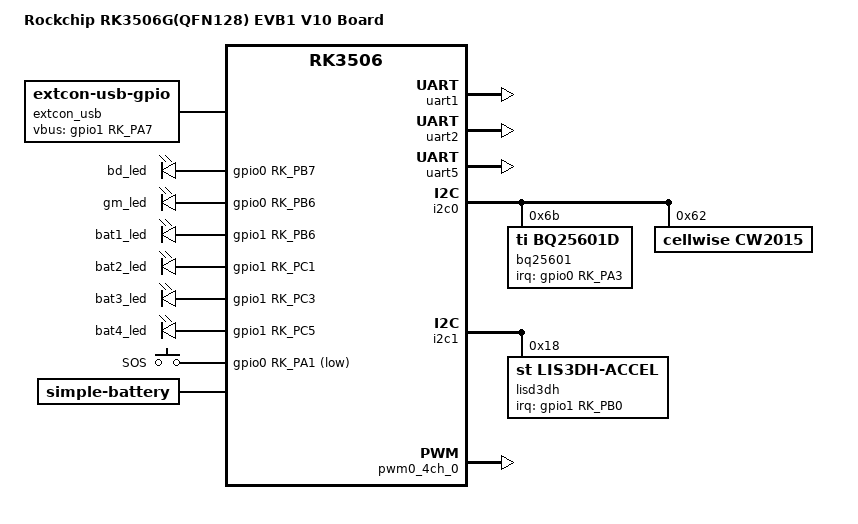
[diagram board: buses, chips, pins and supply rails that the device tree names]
// SPDX-License-Identifier: (GPL-2.0+ OR MIT)
/*
 * Copyright (c) 2024 Rockchip Electronics Co., Ltd.
 */

/dts-v1/;

#include <dt-bindings/sensor-dev.h>

#include "rk3506-my-base-nand.dtsi"

/ {
	model = "Rockchip RK3506G(QFN128) EVB1 V10 Board";
	compatible = "rockchip,rk3506g-evb1-v10", "rockchip,rk3506";

	extcon_usb: extcon-usb {
		compatible = "linux,extcon-usb-gpio";
		vbus-gpio = <&gpio1 RK_PA7 GPIO_ACTIVE_HIGH>;
		pinctrl-names = "default";
		pinctrl-0 = <&usb_extcon_vbus>;
		status = "okay";
	};

	leds: leds {
		compatible = "gpio-leds";
		status = "okay";

		bd_led: bd_led {
			label = "bd_led";
			linux,default-trigger = "none";
			default-state = "off";
			gpios = <&gpio0 RK_PB7 GPIO_ACTIVE_HIGH>;
		};

		gm_led: gm_led {
			label = "gm_led";
			linux,default-trigger = "none";
			default-state = "off";
			gpios = <&gpio0 RK_PB6 GPIO_ACTIVE_HIGH>;
		};

		bat1_led: bat1_led {
			label = "bat1_led";
			linux,default-trigger = "none";
			default-state = "on";
			gpios = <&gpio1 RK_PB6 GPIO_ACTIVE_HIGH>;
		};

		bat2_led: bat2_led {
			label = "bat2_led";
			linux,default-trigger = "none";
			default-state = "off";
			gpios = <&gpio1 RK_PC1 GPIO_ACTIVE_HIGH>;
		};

		bat3_led: bat3_led {
			label = "bat3_led";
			linux,default-trigger = "none";
			default-state = "off";
			gpios = <&gpio1 RK_PC3 GPIO_ACTIVE_HIGH>;
		};

		bat4_led: bat4_led {
			label = "bat4_led";
			linux,default-trigger = "none";
			default-state = "off";
			gpios = <&gpio1 RK_PC5 GPIO_ACTIVE_HIGH>;
		};
	};

	gpio_keys: gpio-keys {
		compatible = "gpio-keys";
		pinctrl-names = "default";
		pinctrl-0 = <&key_sos>;
		status = "okay";

		sos_key: sos-key {
			label = "SOS";
			gpios = <&gpio0 RK_PA1 GPIO_ACTIVE_LOW>;
			linux,code = <KEY_WAKEUP>;
			debounce-interval = <20>;
			wakeup-source;
		};
	};

	bat: battery {
		compatible = "simple-battery";
		constant-charge-current-max-microamp = <2040000>;
		constant-charge-voltage-max-microvolt = <4200000>;
		precharge-current-microamp = <180000>;
		charge-term-current-microamp = <180000>;
	};
};

&pinctrl {
	usb {
		usb_extcon_vbus: usb-extcon-vbus {
			rockchip,pins = <1 RK_PA7 RK_FUNC_GPIO &pcfg_pull_none>;
		};
	};

	bq25601 {
		bq25601_int: bq25601-int {
			rockchip,pins = <0 RK_PA3 RK_FUNC_GPIO &pcfg_pull_up>;
		};
	};

	lis3dh {
		lis3dh_int1: lis3dh-int1 {
			rockchip,pins = <1 RK_PB0 RK_FUNC_GPIO &pcfg_pull_none>;
		};
	};

	btn_keys {
		key_sos: key-sos {
			rockchip,pins = <0 RK_PA1 RK_FUNC_GPIO &pcfg_pull_none>;
		};
	};
};

&usb2phy {
	extcon = <&extcon_usb>;
};

&u2phy_otg0 {
	rockchip,gpio-vbus-det;
};

&uart1 {
	pinctrl-names = "default";
	pinctrl-0 = <&rm_io16_uart1_rx &rm_io17_uart1_tx>;
	dma-names = "tx", "rx";
	status = "okay";
};

&uart2 {
	pinctrl-names = "default";
	pinctrl-0 = <&rm_io0_uart2_rx &rm_io2_uart2_tx>;
	dma-names = "tx", "rx";
	status = "okay";
};

&uart5 {
	pinctrl-0 = <&uart5m0_xfer_pins>;
	dma-names = "tx", "rx";
	status = "okay";
};

&i2c0 {
	status = "okay";
	pinctrl-names = "default";
	pinctrl-0 = <&rm_io4_i2c0_scl &rm_io5_i2c0_sda>;

	bq25601: charger@6b {
		compatible = "ti,bq25601d";
		reg = <0x6b>;

		interrupt-parent = <&gpio0>;
		interrupts = <RK_PA3 IRQ_TYPE_EDGE_FALLING>;
		pinctrl-names = "default";
		pinctrl-0 = <&bq25601_int>;

		monitored-battery = <&bat>;

		ti,watchdog-timeout-ms = <0>;
		input-voltage-limit-microvolt = <4500000>;
		input-current-limit-microamp = <2400000>;
	};

	/* CellWise CW2015 Battery Fuel Gauge */
	cw2015: cw2015@62 {
		compatible = "cellwise,cw2015";
		reg = <0x62>;
		cellwise,battery-profile = /bits/ 8 <
				0x17 0x67 0x80 0x73 0x6E 0x6C 0x6B 0x63
				0x77 0x51 0x5C 0x58 0x50 0x4C 0x48 0x36
				0x15 0x0C 0x0C 0x19 0x5B 0x7D 0x6F 0x69
				0x69 0x5B 0x0C 0x29 0x20 0x40 0x52 0x59
				0x57 0x56 0x54 0x4F 0x3B 0x1F 0x7F 0x17
				0x06 0x1A 0x30 0x5A 0x85 0x93 0x96 0x2D
				0x48 0x77 0x9C 0xB3 0x80 0x52 0x94 0xCB
				0x2F 0x00 0x64 0xA5 0xB5 0x11 0xF0 0x11
		>;
		cellwise,monitor-interval-ms = <5000>; /* 监控间隔 */
	};
};

&i2c1 {
	pinctrl-names = "default";
	pinctrl-0 = <&rm_io25_i2c1_scl &rm_io26_i2c1_sda>;
	status = "okay";

	lisd3dh@18 {
		status = "okay";
		compatible = "st,lis3dh-accel";
		st,drdy-int-pin = <1>;
		reg = <0x18>;
		interrupt-parent = <&gpio1>;
		interrupts = <RK_PB0 IRQ_TYPE_EDGE_RISING>;
		pinctrl-names = "default";
		pinctrl-0 = <&lis3dh_int1>;
		irq-gpio = <&gpio1 RK_PB0 IRQ_TYPE_EDGE_RISING>;

		mount-matrix = "0", "1", "0",
						"-1", "0", "0",
						"0", "0", "1";
	};
};

&pwm0_4ch_0 {
	status = "okay";
};
